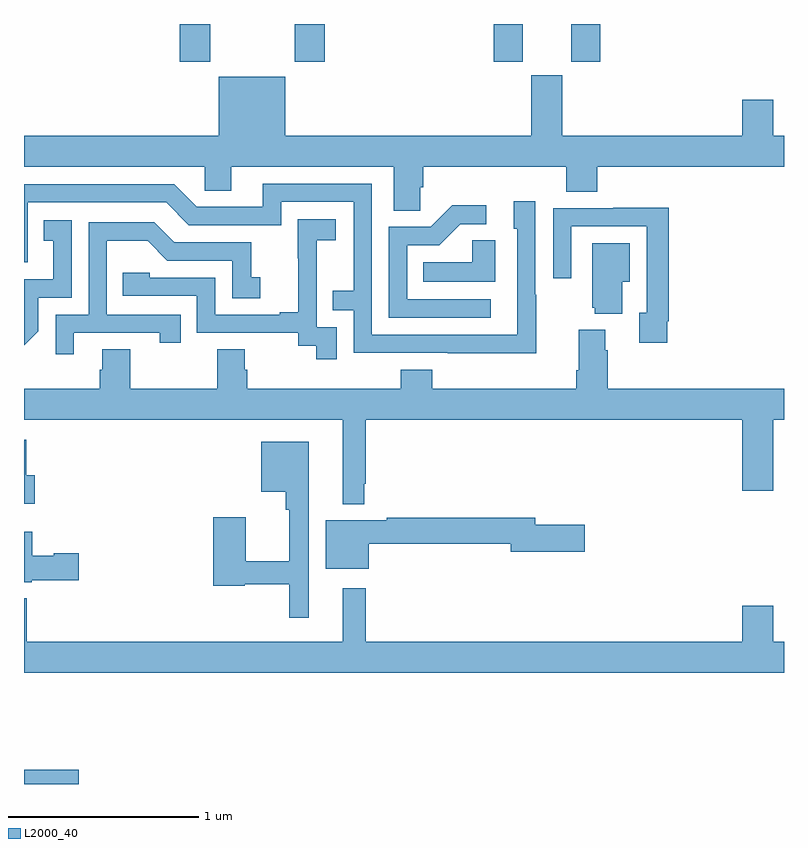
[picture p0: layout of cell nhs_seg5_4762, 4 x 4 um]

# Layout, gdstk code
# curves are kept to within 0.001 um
import gdstk
lib = gdstk.Library(unit=1e-6, precision=1e-09)
def R(c, l, rs):  # rectangles x0, y0, x1, y1
    for r in rs: c.add(gdstk.rectangle(r[:2], r[2:], *l))
def P(c, l, *ps):  # polygons
    for p in ps: c.add(gdstk.Polygon(p, *l))
L2000_40 = (2000, 40)

nhs_seg5_4762 = lib.new_cell('nhs_seg5_4762')
R(nhs_seg5_4762, L2000_40, [(389,898.799,389.287,898.874), (389.819,902.601,389.979,902.799), (390.424,902.601,390.584,902.799), (391.472,902.601,391.624,902.799), (391.88,902.601,392.033,902.799)])
P(nhs_seg5_4762, L2000_40, [(391.086,901.939),(391.1,901.939),(391.1,902.048),(391.853,902.048),(391.853,901.915),(392.018,901.915),(392.018,902.048),(393,902.048),(393,902.212),(392.944,902.212),(392.944,902.401),(392.78,902.401),(392.78,902.212),(391.834,902.212),(391.834,902.529),(391.67,902.529),(391.67,902.212),(390.376,902.212),(390.376,902.521),(390.026,902.521),(390.026,902.212),(389,902.212),(389,902.048),(389.952,902.048),(389.952,901.921),(390.091,901.921),(390.091,902.048),(390.947,902.048),(390.947,901.816),(391.086,901.816)],
  [(391.695,901.373),(391.692,901.373),(391.692,901.867),(391.577,901.867),(391.577,901.722),(391.596,901.722),(391.596,901.164),(390.831,901.164),(390.831,901.959),(390.257,901.959),(390.257,901.836),(389.91,901.836),(389.79,901.956),(389,901.956),(389,901.545),(389.019,901.545),(389.019,901.86),(389.748,901.86),(389.868,901.74),(390.354,901.74),(390.354,901.863),(390.735,901.863),(390.735,901.394),(390.625,901.394),(390.625,901.293),(390.735,901.293),(390.735,901.068),(391.695,901.067)],
  [(391.456,901.35),(391.017,901.35),(391.017,901.635),(391.186,901.635),(391.297,901.746),(391.432,901.746),(391.432,901.844),(391.253,901.844),(391.14,901.731),(390.921,901.731),(390.921,901.254),(391.456,901.254)],
  [(392.386,901.234),(392.393,901.234),(392.393,901.832),(392.101,901.832),(392.101,901.83),(391.785,901.83),(391.785,901.461),(391.881,901.461),(391.881,901.734),(392.277,901.734),(392.277,901.278),(392.237,901.278),(392.237,901.122),(392.386,901.122)],
  [(390.645,901.203),(390.54,901.203),(390.54,901.433),(390.542,901.433),(390.542,901.661),(390.64,901.661),(390.64,901.771),(390.442,901.771),(390.442,901.565),(390.443,901.565),(390.443,901.282),(390.347,901.282),(390.347,901.269),(390.006,901.269),(390.006,901.464),(389.661,901.464),(389.661,901.491),(389.521,901.491),(389.521,901.368),(389.91,901.368),(389.91,901.173),(390.444,901.173),(390.444,901.105),(390.537,901.105),(390.537,901.035),(390.645,901.035)],
  [(389.076,901.182),(389.076,901.359),(389.25,901.359),(389.25,901.765),(389.104,901.765),(389.104,901.659),(389.153,901.659),(389.153,901.455),(389,901.455),(389,901.107)],
  [(389.263,901.173),(389.714,901.173),(389.714,901.122),(389.825,901.122),(389.825,901.269),(389.436,901.269),(389.436,901.658),(389.65,901.658),(389.754,901.554),(390.096,901.554),(390.096,901.356),(390.244,901.356),(390.244,901.465),(390.195,901.465),(390.195,901.65),(389.791,901.65),(389.686,901.755),(389.34,901.755),(389.34,901.269),(389.166,901.269),(389.166,901.062),(389.263,901.062)],
  [(391.48,901.661),(391.359,901.661),(391.359,901.546),(391.102,901.546),(391.102,901.442),(391.48,901.442)],
  [(392.149,901.442),(392.188,901.442),(392.188,901.645),(391.991,901.645),(391.991,901.305),(392.003,901.305),(392.003,901.274),(392.149,901.274)],
  [(390.792,900.379),(390.799,900.379),(390.799,900.716),(392.78,900.716),(392.78,900.342),(392.944,900.342),(392.944,900.716),(393,900.716),(393,900.88),(392.072,900.88),(392.072,901.082),(392.059,901.082),(392.059,901.189),(391.919,901.189),(391.919,900.976),(391.907,900.976),(391.907,900.88),(391.148,900.88),(391.148,900.979),(390.983,900.979),(390.983,900.88),(390.176,900.88),(390.176,900.978),(390.163,900.978),(390.163,901.088),(390.016,901.088),(390.016,900.88),(389.559,900.88),(389.559,901.088),(389.411,901.088),(389.411,900.978),(389.399,900.978),(389.399,900.88),(389,900.88),(389,900.716),(390.677,900.716),(390.677,900.272),(390.792,900.272)],
  [(389.056,900.423),(389.012,900.423),(389.012,900.61),(389,900.61),(389,900.275),(389.056,900.275)],
  [(390.499,900.601),(390.248,900.601),(390.248,900.338),(390.378,900.338),(390.378,900.242),(390.395,900.242),(390.395,899.971),(390.166,899.971),(390.166,900.202),(389.996,900.202),(389.996,899.842),(390.162,899.842),(390.162,899.85),(390.395,899.85),(390.395,899.673),(390.499,899.673)],
  [(390.814,900.064),(391.562,900.064),(391.562,900.022),(391.951,900.022),(391.951,900.164),(391.69,900.164),(391.69,900.2),(390.91,900.2),(390.91,900.187),(390.587,900.187),(390.587,899.933),(390.814,899.933)],
  [(389.04,899.872),(389.287,899.872),(389.287,900.014),(389.157,900.014),(389.157,900.001),(389.044,900.001),(389.044,900.127),(389,900.127),(389,899.861),(389.04,899.861)],
  [(393,899.548),(392.944,899.548),(392.944,899.737),(392.78,899.737),(392.78,899.548),(390.799,899.548),(390.799,899.83),(390.677,899.83),(390.677,899.548),(389.015,899.548),(389.015,899.776),(389,899.776),(389,899.384),(393,899.384)])

lib.write_gds('nhs_seg5_4762.gds')
